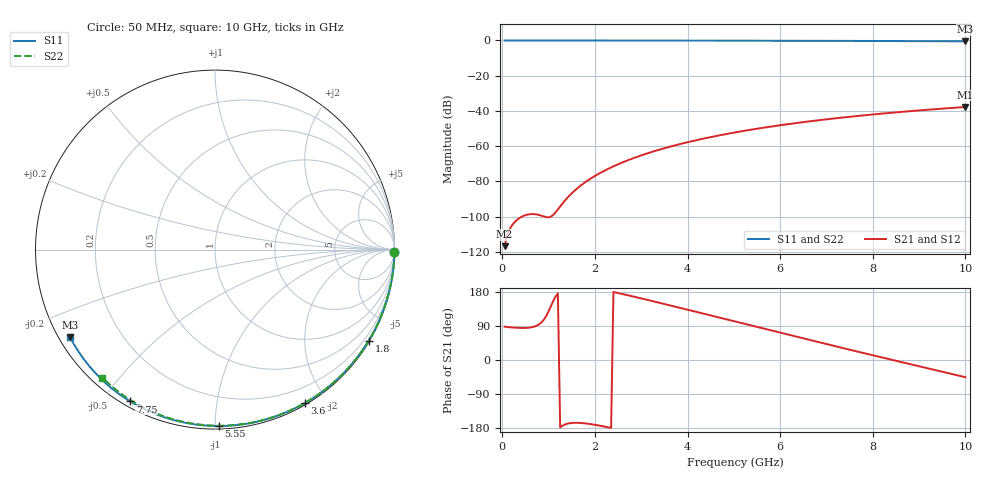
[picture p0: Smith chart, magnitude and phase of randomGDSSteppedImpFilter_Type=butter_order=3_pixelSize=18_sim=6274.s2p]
! freq	dB(S11)	phase(S11)	dB(S12)	phase(S12)
!  dB(S21)	phase(S21)	dB(S22)	phase(S22)
!S-par simulation data
#  GHz  S  DB  R 50
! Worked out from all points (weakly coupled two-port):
!   200 points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, 50 MHz to 10 GHz, reference 50 ohm
!   highest |S21| = -37.79 dB at 10 GHz (marker M1); lowest = -116.8 dB at 50 MHz (marker M2)
!   lowest |S11| = -0.5 dB at 10 GHz (marker M3), VSWR 34.54, Z = 1.56 - j13.9 ohm
!   |S11| at or under -10 dB: nowhere
!   |S22| runs from -0.4 to 0.0 dB; largest |S21 - S12| = 0
!   S11 on the Smith chart (normalised r, x): 50 MHz: open; 1.8 GHz: 0.03, -3.65; 3.6 GHz: 0.02, -1.74; 5.55 GHz: 0.02, -1.02; 7.75 GHz: 0.02, -0.59; 10 GHz: 0.03, -0.28
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0.05  -0.00 -0.9  -116.81 88.0  -116.81 88.0  -0.00 -0.8
0.45  -0.01 -7.8  -99.70 84.5  -99.70 84.5  -0.01 -6.8
0.9  -0.02 -15.5  -100.00 106.8  -100.00 106.8  -0.02 -13.6
1.3  -0.03 -22.2  -92.54 -173.4  -92.54 -173.4  -0.02 -19.5
1.75  -0.04 -29.8  -81.26 -166.8  -81.26 -166.8  -0.03 -26.2
1.8  -0.04 -30.6  -80.32 -167.4  -80.32 -167.4  -0.03 -26.9
1.85  -0.04 -31.4  -79.42 -168.2  -79.42 -168.2  -0.04 -27.6
2  -0.04 -33.9  -76.94 -171.0  -76.94 -171.0  -0.04 -29.8
2.15  -0.05 -36.4  -74.73 -174.3  -74.73 -174.3  -0.04 -32.0
2.5  -0.05 -42.1  -70.32 176.8  -70.32 176.8  -0.05 -37.1
2.9  -0.06 -48.6  -66.18 165.5  -66.18 165.5  -0.06 -42.8
3.4  -0.08 -56.5  -61.94 150.8  -61.94 150.8  -0.07 -49.8
3.6  -0.08 -59.7  -60.46 144.8  -60.46 144.8  -0.07 -52.6
4.3  -0.10 -70.4  -55.99 123.6  -55.99 123.6  -0.09 -62.2
5.05  -0.13 -81.6  -52.11 100.7  -52.11 100.7  -0.11 -72.1
5.55  -0.15 -88.8  -49.91 85.5  -49.91 85.5  -0.13 -78.6
6.1  -0.17 -96.6  -47.77 68.9  -47.77 68.9  -0.15 -85.6
6.7  -0.20 -104.9  -45.72 50.9  -45.72 50.9  -0.18 -93.0
7.75  -0.28 -119.1  -42.67 19.8  -42.67 19.8  -0.24 -105.5
8.35  -0.33 -127.1  -41.17 2.3  -41.17 2.3  -0.29 -112.5
9.2  -0.41 -138.3  -39.31 -22.3  -39.31 -22.3  -0.36 -122.3
10  -0.50 -148.9  -37.79 -45.4  -37.79 -45.4  -0.45 -131.3
